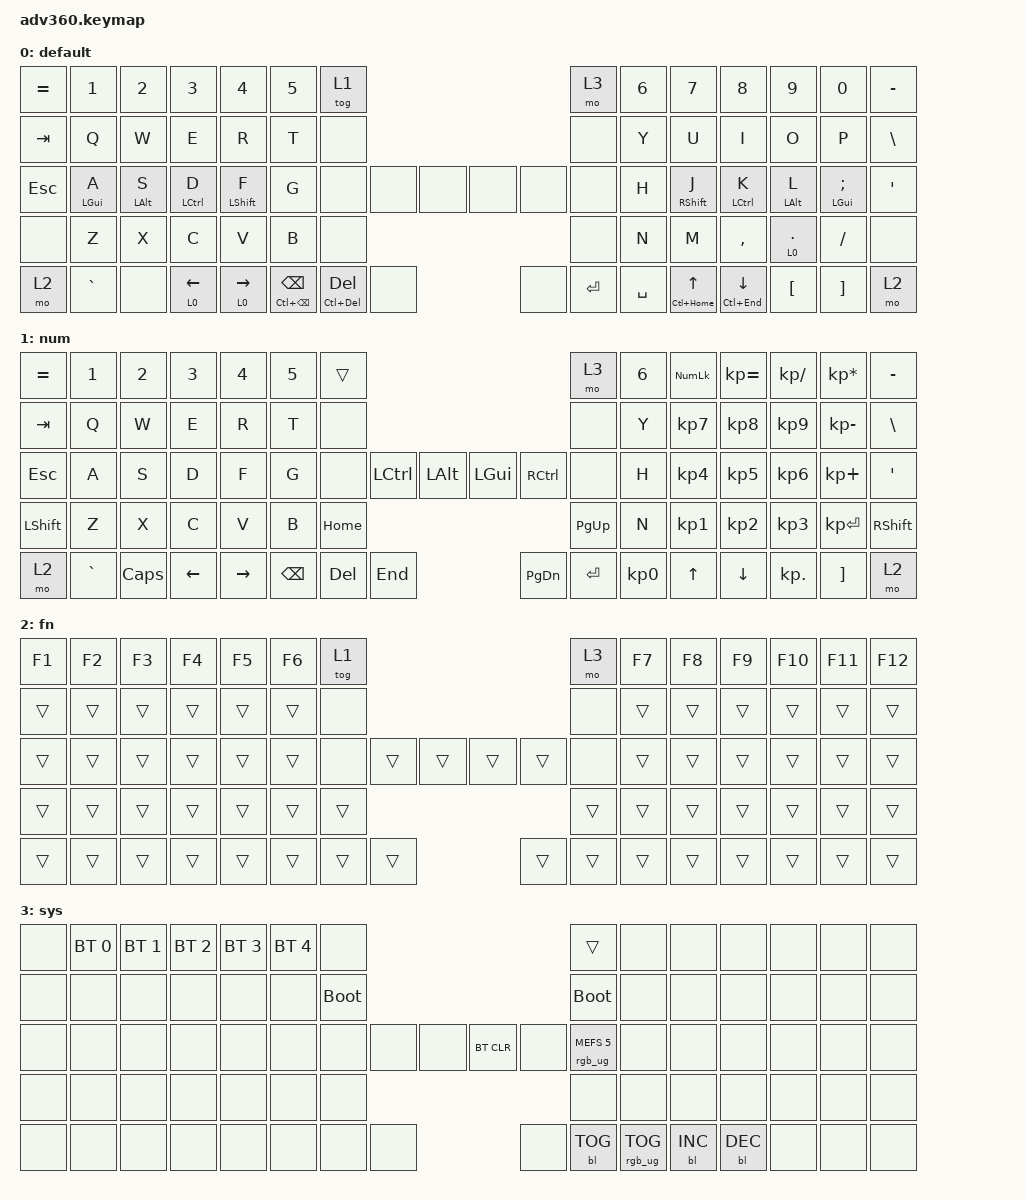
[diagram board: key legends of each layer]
#include <behaviors.dtsi>
#include <dt-bindings/zmk/backlight.h>
#include <dt-bindings/zmk/bt.h>
#include <dt-bindings/zmk/keys.h>
#include <dt-bindings/zmk/rgb.h>

#include "zmk-helpers/helper.h"
#include "zmk-helpers/unicode-chars/german.dtsi"

#define DEF 0
#define NUM 1
#define FN  2
#define SYS 3

#define XXX &none
#define ___ &trans

#define KEYS_L    0 1 2 3 4 5 6 \
                  14 15 16 17 18 19 20 \
                  28 29 30 31 32 33 34 \
                  46 47 48 49 50 51 \
                  66 67 68 69 70

#define KEYS_R     7 8 9 10 11 12 13 \
                   21 22 23 24 25 26 27 \
                   39 40 41 42 43 44 45 \
                   60 61 62 63 64 65 \
                   77 78 79 80 81

#define THUMBS      35 36 54 71 72 73 \
                    37 38 57 74 75 76

/* Global settings */
#define QUICK_TAP_MS 175

&sk {  // sticky-key config
    release-after-ms = <900>;  // release after 0.6s
    quick-release;             // no double capitalization when rolling keys
};

&sl {  // sticky-layer config
    ignore-modifiers;          // allow chording sticky mods & layers
};

&lt {  // layer-tap config
    flavor = "balanced";
    tapping-term-ms = <200>;
    quick-tap-ms = <QUICK_TAP_MS>;
};

/* Homerow mods */
#define MAKE_HRM(NAME, HOLD, TAP, TRIGGER_POS) \
    ZMK_HOLD_TAP(NAME, \
        flavor = "balanced"; \
        tapping-term-ms = <280>; \
        quick-tap-ms = <QUICK_TAP_MS>; \
        require-prior-idle-ms = <150>; \
        bindings = <HOLD>, <TAP>; \
        hold-trigger-key-positions = <TRIGGER_POS>; \
        hold-trigger-on-release; \
    )

MAKE_HRM(hml, &kp, &kp, KEYS_R THUMBS)  // left-hand HRMs
MAKE_HRM(hmr, &kp, &kp, KEYS_L THUMBS)  // right-hand HRMs

// long-tap action on hold, short-tap action on all interrupts
#define MT_CORE \
    flavor = "tap-preferred"; \
    tapping-term-ms = <220>; \
    quick-tap-ms = <220>; \
    hold-trigger-key-positions = <0>;
    
&mt { MT_CORE };

// mask CTRL when holding left/right to avoid accidental jumps to beginning/end of document
#define MASK_MODS(NAME, MODS, BINDING) \
    ZMK_MOD_MORPH(NAME, \
        bindings = <BINDING>, <BINDING>; \
        mods = <MODS>; \
    )
MASK_MODS(masked_home, (MOD_LCTL), &kp HOME)
MASK_MODS(masked_end,  (MOD_LCTL), &kp END)

ZMK_HOLD_TAP(mt_home, bindings = <&masked_home>, <&kp>; MT_CORE)
ZMK_HOLD_TAP(mt_end, bindings = <&masked_end>, <&kp>; MT_CORE)

// Press dot, space and sticky shift at the same time with one keypress
ZMK_MACRO(dot_spc,
    wait-ms = <0>;
    tap-ms = <5>;
    bindings = <&kp DOT &kp SPACE &sk LSHFT>;
)

ZMK_HOLD_TAP(mt_dot, bindings = <&dot_spc>, <&kp>; MT_CORE)

#define NAV_LEFT    &mt_home 0   LEFT    // tap: left  | long-tap: beginning of line
#define NAV_RIGHT   &mt_end 0    RIGHT   // tap: right | long-tap: end       of line
#define NAV_UP      &mt LC(HOME) UP      // tap: up    | long-tap: beginning of document
#define NAV_DOWN    &mt LC(END)  DOWN    // tap: down  | long-tap: end       of document

#define BSPC_MORPH  &mt LC(BSPC) BSPC    // tap: bspc  | long-tap: delete word backward
#define DEL_MORPH   &mt LC(DEL)  DEL     // tap: del   | long-tap: delete word forward

#define DOT_MORPH   &mt_dot 0    DOT     // tap: dot   | long-tap: press dot, space and shift at the same time

ZMK_CONDITIONAL_LAYER(sys, FN NUM, SYS)  // FN + NUM --> SYS

/* Keymap Default Layer */
ZMK_LAYER(default,
&kp EQUAL  &kp N1          &kp N2          &kp N3       &kp N4            &kp N5  &tog 1                                                           &mo 3      &kp N6  &kp N7             &kp N8       &kp N9           &kp N0              &kp MINUS
&kp TAB    &kp Q           &kp W           &kp E        &kp R             &kp T   XXX                                                            XXX      &kp Y   &kp U              &kp I        &kp O            &kp P               &kp BSLH
&kp ESC    &hml LGUI A     &hml LALT S     &hml LCTRL D &hml LSHFT F      &kp G   XXX     XXX   XXX   XXX  XXX  XXX      &kp H   &hmr RSHFT J       &hmr LCTRL K &hmr LALT L      &hmr LGUI SEMI           &kp SQT
XXX  &kp Z           &kp X           &kp C        &kp V             &kp B                        XXX          XXX                            &kp N   &kp M              &kp COMMA    DOT_MORPH          &kp FSLH            XXX
&mo 2      &kp GRAVE       XXX        NAV_LEFT     NAV_RIGHT         BSPC_MORPH  DEL_MORPH    XXX           XXX      &kp ENTER  &kp SPACE          NAV_UP             NAV_DOWN     &kp LBKT         &kp RBKT            &mo 2
)

/* Keymap Number Layer */
ZMK_LAYER(num,
&kp EQUAL  &kp N1     &kp N2    &kp N3    &kp N4     &kp N5  ___                                                   &mo 3      &kp N6  &kp KP_NUM  &kp KP_EQUAL  &kp KP_DIVIDE  &kp KP_MULTIPLY  &kp MINUS
&kp TAB    &kp Q      &kp W     &kp E     &kp R      &kp T   XXX                                                    XXX      &kp Y   &kp KP_N7   &kp KP_N8     &kp KP_N9      &kp KP_MINUS     &kp BSLH
&kp ESC    &kp A      &kp S     &kp D     &kp F      &kp G   XXX     &kp LCTRL  &kp LALT      &kp LGUI   &kp RCTRL  XXX      &kp H   &kp KP_N4   &kp KP_N5     &kp KP_N6      &kp KP_PLUS      &kp SQT
&kp LSHFT  &kp Z      &kp X     &kp C     &kp V      &kp B                        &kp HOME      &kp PG_UP                        &kp N   &kp KP_N1   &kp KP_N2     &kp KP_N3      &kp KP_ENTER     &kp RSHFT
&mo 2      &kp GRAVE  &kp CAPS  &kp LEFT  &kp RIGHT          &kp BSPC  &kp DEL    &kp END       &kp PG_DN  &kp ENTER  &kp KP_N0          &kp UP      &kp DOWN      &kp KP_DOT     &kp RBKT         &mo 2
)

/* Keymap Function Layer */
ZMK_LAYER(fn,
&kp F1  &kp F2  &kp F3  &kp F4  &kp F5  &kp F6  &tog 1                                      &mo 3   &kp F7  &kp F8  &kp F9  &kp F10  &kp F11  &kp F12
___  ___  ___  ___  ___  ___  XXX                                       XXX   ___  ___  ___  ___   ___   ___
___  ___  ___  ___  ___  ___  XXX   ___  ___      ___  ___  XXX   ___  ___  ___  ___   ___   ___
___  ___  ___  ___  ___  ___                  ___      ___                  ___  ___  ___  ___   ___   ___
___  ___  ___  ___  ___          ___  ___  ___      ___  ___  ___          ___  ___  ___   ___   ___
)

/* Keymap System Layer */
ZMK_LAYER(sys,
XXX  &bt BT_SEL 0  &bt BT_SEL 1  &bt BT_SEL 2  &bt BT_SEL 3  &bt BT_SEL 4  XXX                                                  ___                  XXX  XXX       XXX       XXX  XXX  XXX
XXX  XXX         XXX         XXX         XXX         XXX         &bootloader                                            &bootloader             XXX  XXX       XXX       XXX  XXX  XXX
XXX  XXX         XXX         XXX         XXX         XXX         XXX        XXX  XXX      &bt BT_CLR  XXX       &rgb_ug RGB_MEFS_CMD 5  XXX  XXX       XXX       XXX  XXX  XXX
XXX  XXX         XXX         XXX         XXX         XXX                             XXX      XXX                                           XXX  XXX       XXX       XXX  XXX  XXX
XXX  XXX         XXX         XXX         XXX                       XXX        XXX  XXX      XXX       &bl BL_TOG  &rgb_ug RGB_TOG                &bl BL_INC  &bl BL_DEC  XXX  XXX  XXX
)
